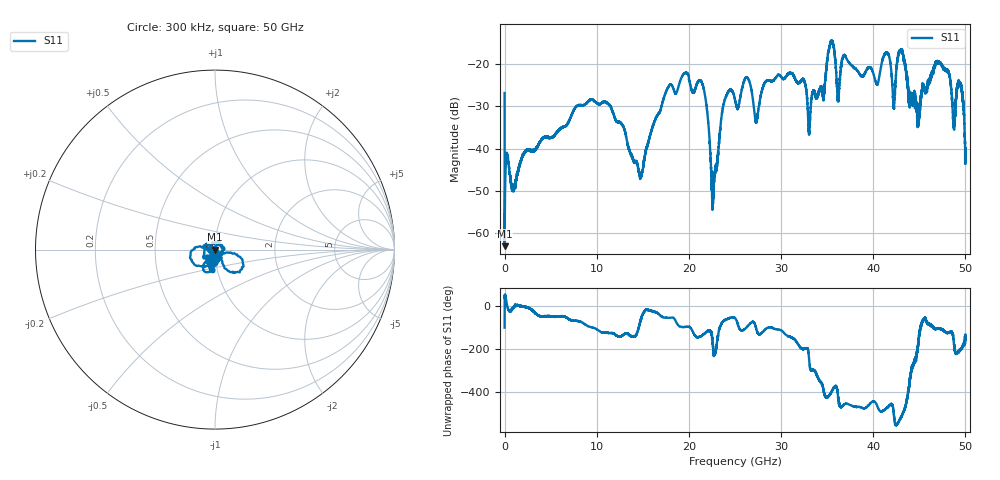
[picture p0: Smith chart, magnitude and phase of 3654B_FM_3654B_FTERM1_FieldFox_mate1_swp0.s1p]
!Created with skrf (http://scikit-rf.org).
# Hz S RI R 50.0
!freq ReS11 ImS11
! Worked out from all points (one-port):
!   10001 points, 300 kHz to 50 GHz, reference 50 ohm
!   lowest |S11| = -63.0 dB at 5.3 MHz (marker M1), VSWR 1.00, Z = 50.1 - j0.0231 ohm
!   |S11| at or under -10 dB: start of sweep to end of sweep
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300000  -0.00771 -0.0446
5299970  0.000669 -0.000231
9.352944e8  0.00316 -0.000503
6.250262e9  0.012 -0.0129
1.250022e10  -0.0158 -0.013
1.477021e10  0.00168 -0.00426
1.875019e10  0.00465 -0.0485
2.144017e10  -0.0418 -0.0409
2.264516e10  -0.00255 0.000857
2.385016e10  0.0146 -0.0335
2.500015e10  0.0213 -0.031
2.633014e10  -0.00621 -0.0686
2.732514e10  -0.00668 -0.0194
3.125011e10  -0.0656 -0.0399
3.30701e10  -0.00137 0.016
3.540509e10  0.1326 -0.1192
3.619008e10  0.0137 -0.0345
3.750008e10  -0.0142 -0.0974
4.040006e10  -0.00885 -0.0556
4.149005e10  -0.0492 -0.1262
4.223005e10  -0.0252 -0.0209
4.300004e10  -0.1313 -0.0578
4.375004e10  0.03 -0.044
4.489003e10  -0.0219 -0.00532
4.728002e10  -0.0285 -0.0966
4.873501e10  -0.0183 -0.00492
4.9465e10  -0.0516 0.0232
5e10  -0.00512 -0.00424
